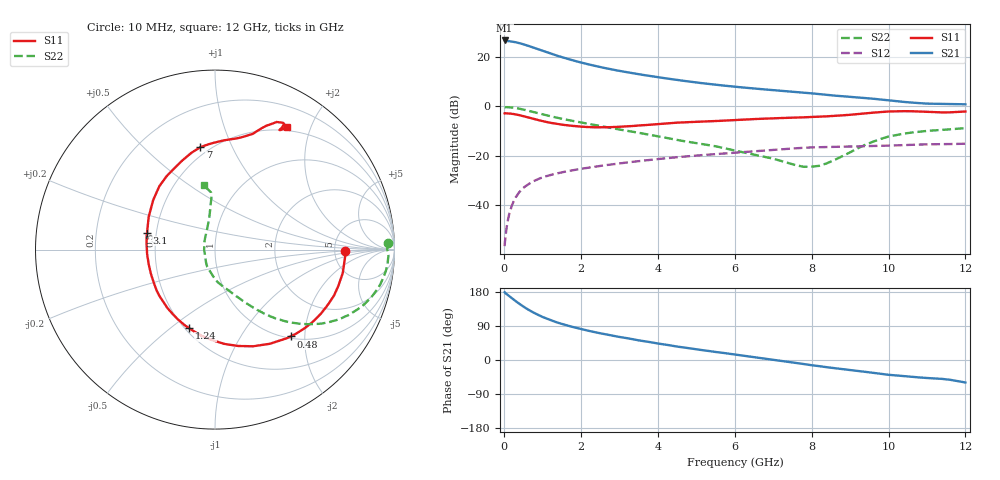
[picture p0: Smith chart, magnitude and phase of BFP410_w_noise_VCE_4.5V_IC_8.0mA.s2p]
! Infineon Technologies  Discrete & RF Semiconductors
! BFP410
! VCE =  4.5 V,  IC =  8.0 mA
! Common Emitter S-Parameters:  Nov 2015
# GHz  S  MA  R  50
!  f  S11  S21  S12  S22
! GHz  MAG  ANG  MAG  ANG  MAG  ANG  MAG  ANG
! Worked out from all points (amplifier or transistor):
!   243 points, 10 MHz to 12 GHz, reference 50 ohm
!   highest |S21| = 26.7 dB at 10 MHz (marker M1)
!   |S21| within 3 dB of that: start of sweep to 782 MHz
!   unconditionally stable (mu >= 1): start of sweep to 23.64 MHz; 2.632 GHz to end of sweep
!   at 240 MHz: K = 0.26, MSG = 32.3 dB, |S12| = -38.6 dB
!   at 1.84 GHz: K = 0.78, MSG = 22.0 dB, |S12| = -25.6 dB
!   at 12 GHz: K = 1.05, MAG = 6.7 dB, |S12| = -15.1 dB
!   lowest NFmin = 1.18 dB at 900 MHz
!   S11 on the Smith chart (normalised r, x): 10 MHz: 6.20, -0.16; 480 MHz: 1.04, -1.70; 1.24 GHz: 0.52, -0.58; 3.1 GHz: 0.44, +0.10; 7 GHz: 0.45, +0.76; 12 GHz: 0.46, +1.66
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0.01  0.7223 -0.5  21.52 178.8  0.0015 8.3  0.9664 2.3
0.055  0.7238 -5.5  21.02 174.4  0.0032 62.2  0.9667 -2.1
0.15  0.7173 -15.8  20.7 167.0  0.0076 71.6  0.9593 -7.2
0.26  0.6974 -27.2  20.01 158.2  0.0128 71.5  0.9372 -12.6
0.4  0.6645 -41.2  18.95 147.8  0.0188 67.9  0.8968 -18.7
0.48  0.6417 -48.9  18.2 142.3  0.0219 65.7  0.87 -21.8
0.6  0.6072 -59.8  17.02 134.3  0.026 62.4  0.8277 -26.2
0.8  0.5524 -76.5  15.06 123.1  0.032 57.9  0.7575 -32.1
1  0.5044 -91.9  13.3 113.5  0.0368 54.3  0.6912 -36.9
1.24  0.4613 -108.2  11.5 103.9  0.0418 51.2  0.6235 -41.4
1.4  0.4401 -118.1  10.45 98.2  0.0447 49.6  0.5843 -44.0
1.6  0.4196 -129.3  9.383 92.1  0.0483 47.9  0.5422 -46.6
2.02  0.3895 -150.1  7.634 81.3  0.0552 45.2  0.4715 -51.0
2.54  0.378 -173.8  6.152 69.6  0.0635 42.1  0.3962 -55.9
3.1  0.3903 166.0  5.06 59.2  0.0721 39.0  0.3314 -60.9
4.1  0.446 139.2  3.792 42.0  0.0879 33.2  0.241 -71.4
5  0.4893 123.6  3.041 28.1  0.1017 27.2  0.181 -85.6
6.1  0.5342 108.6  2.458 13.2  0.1174 19.8  0.1235 -103.1
7  0.5766 98.1  2.134 0.6  0.1323 13.3  0.0879 -124.5
8.2  0.62 82.1  1.77 -16.3  0.15 1.5  0.0631 161.3
10.2  0.7955 63.0  1.28 -40.8  0.1634 -13.6  0.2641 95.0
12  0.7896 59.5  1.103 -59.3  0.1762 -29.1  0.3649 100.0
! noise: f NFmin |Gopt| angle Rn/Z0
0.45  1.21  0.12  -6  0.18
0.9  1.18  0.11  12  0.17
1.8  1.32  0.04  55  0.17
2.4  1.3  0.01  -67  0.19
5.5  2.19  0.33  -117  0.24
10  3.37  0.67  -50  1.8
